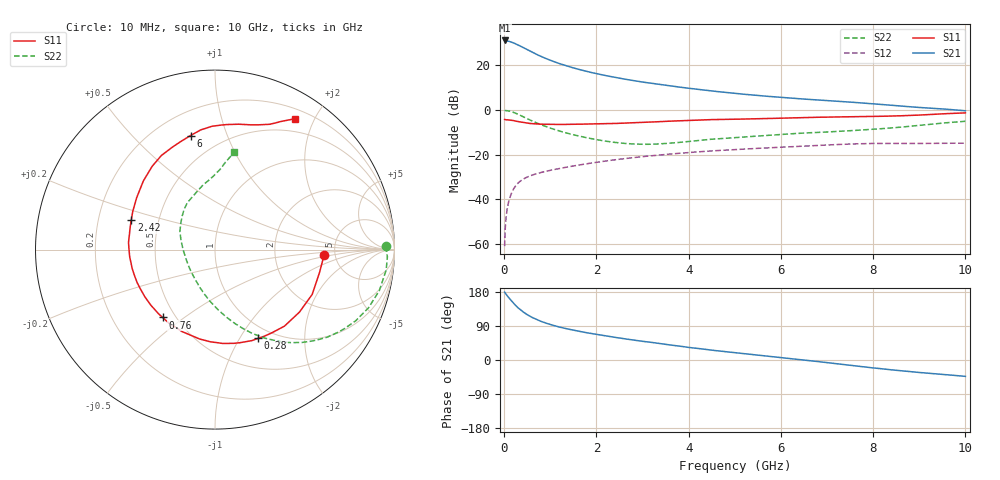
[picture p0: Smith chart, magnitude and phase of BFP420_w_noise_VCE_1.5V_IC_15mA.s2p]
! Infineon Technologies  Discrete & RF Semiconductors
! BFP420
! VCE =  1.5 V,  IC =  15 mA
! Common Emitter S-Parameters:  Jan 2016
# GHz  S  MA  R  50
!  f  S11  S21  S12  S22
! GHz  MAG  ANG  MAG  ANG  MAG  ANG  MAG  ANG
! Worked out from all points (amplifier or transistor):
!   233 points, 10 MHz to 10 GHz, reference 50 ohm
!   highest |S21| = 31.0 dB at 10 MHz (marker M1)
!   |S21| within 3 dB of that: start of sweep to 395.4 MHz
!   unconditionally stable (mu >= 1): start of sweep to 10.13 MHz; 1.979 GHz to end of sweep
!   at 200 MHz: K = 0.19, MSG = 32.7 dB, |S12| = -35.5 dB
!   at 1.74 GHz: K = 0.94, MSG = 20.8 dB, |S12| = -24.3 dB
!   at 10 GHz: K = 1.07, MAG = 5.6 dB, |S12| = -14.9 dB
!   lowest NFmin = 1.06 dB at 900 MHz
!   S11 on the Smith chart (normalised r, x): 10 MHz: 4.07, -0.38; 280 MHz: 0.85, -1.20; 760 MHz: 0.43, -0.42; 2.42 GHz: 0.35, +0.15; 6 GHz: 0.34, +0.75; 10 GHz: 0.32, +1.73
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0.01  0.6086 -2.8  35.33 179.2  0.0009 81.9  0.952 1.1
0.02  0.6046 -4.9  34.59 177.0  0.0019 87.1  0.9614 -2.4
0.07  0.593 -17.4  34.19 169.0  0.0064 83.4  0.9521 -9.6
0.1  0.5963 -24.8  33.95 164.4  0.009 80.9  0.944 -13.9
0.15  0.5853 -36.6  32.78 157.0  0.013 75.2  0.9151 -20.7
0.2  0.5758 -47.8  31.38 150.2  0.0168 71.0  0.8783 -26.9
0.28  0.5499 -64.1  28.7 140.3  0.0218 64.9  0.8104 -35.7
0.4  0.5249 -85.1  24.87 127.9  0.0277 58.4  0.7086 -46.9
0.5  0.5054 -99.8  21.93 119.7  0.0315 54.7  0.6316 -54.4
0.6  0.4921 -112.0  19.42 112.7  0.0346 52.1  0.5659 -60.7
0.76  0.4776 -127.7  16.21 104.0  0.0388 49.7  0.4817 -68.8
0.9  0.473 -138.9  14.03 97.5  0.0421 48.3  0.4239 -75.2
1.1  0.4703 -151.8  11.68 90.2  0.0466 47.3  0.3609 -83.2
1.36  0.4722 -164.7  9.515 82.4  0.0524 46.4  0.3017 -92.9
1.68  0.4778 -177.4  7.688 74.5  0.0596 45.4  0.2512 -104.3
2.42  0.4952 160.4  5.249 59.5  0.0768 41.7  0.1858 -133.0
3.4  0.5456 138.2  3.636 43.0  0.0985 34.6  0.1739 -175.1
5.1  0.618 112.7  2.272 18.0  0.131 20.3  0.2425 141.6
6  0.65 102.1  1.893 6.5  0.1462 13.0  0.2821 127.7
6.8  0.6803 93.5  1.654 -4.1  0.1602 5.6  0.3122 116.1
8.4  0.7238 73.8  1.258 -26.0  0.1769 -11.8  0.3931 94.1
10  0.8527 58.7  0.95 -43.2  0.1798 -23.6  0.5537 78.7
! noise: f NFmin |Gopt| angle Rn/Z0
0.9  1.06  0.09  -152  0.13
1.8  1.36  0.18  -147  0.12
2.4  1.49  0.17  -148  0.14
3  1.53  0.25  -138  0.14
4  1.67  0.38  -119  0.2
5  2.14  0.44  -103  0.32
6  2.48  0.5  -88  0.47
